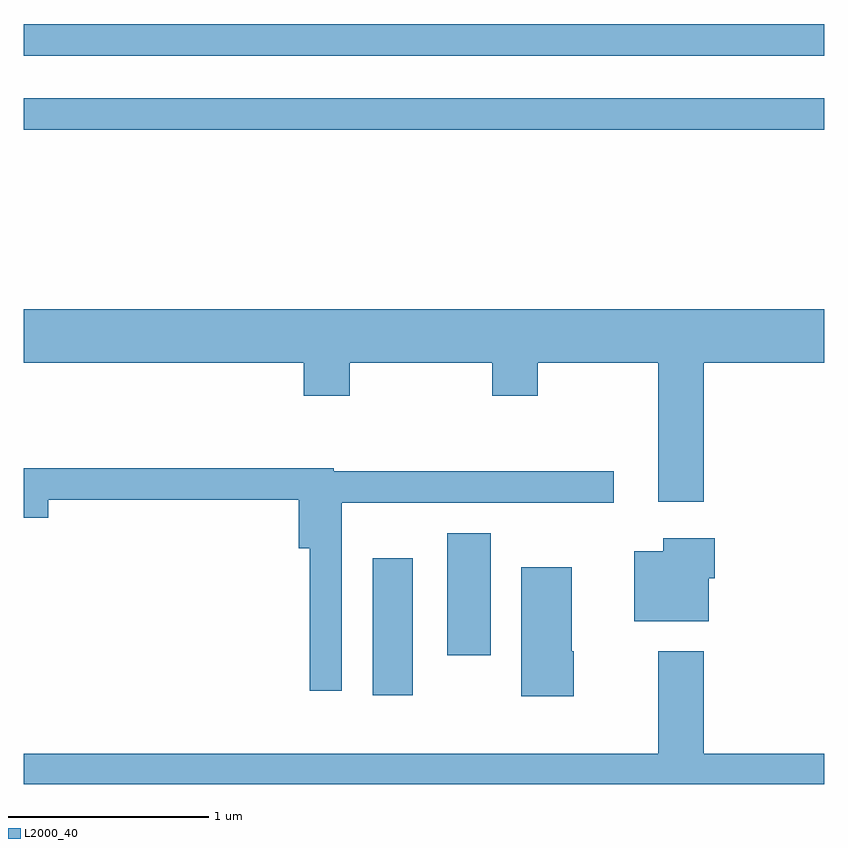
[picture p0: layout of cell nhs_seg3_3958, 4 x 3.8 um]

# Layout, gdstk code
import gdstk
lib = gdstk.Library(unit=1e-6, precision=1e-09)
def R(c, l, rs):  # rectangles x0, y0, x1, y1
    for r in rs: c.add(gdstk.rectangle(r[:2], r[2:], *l))
def P(c, l, *ps):  # polygons
    for p in ps: c.add(gdstk.Polygon(p, *l))
L2000_40 = (2000, 40)

nhs_seg3_3958 = lib.new_cell('nhs_seg3_3958')
R(nhs_seg3_3958, L2000_40, [(303.356,1144.336,303.554,1145.019), (303.726,1144.536,303.944,1145.144), (301.611,1147.161,305.611,1147.319), (301.611,1147.531,305.611,1147.689)])
P(nhs_seg3_3958, L2000_40, [(305.009,1145.996),(305.611,1145.996),(305.611,1146.264),(301.611,1146.264),(301.611,1145.996),(303.011,1145.996),(303.011,1145.831),(303.239,1145.831),(303.239,1145.996),(303.951,1145.996),(303.951,1145.831),(304.179,1145.831),(304.179,1145.996),(304.781,1145.996),(304.781,1145.301),(305.009,1145.301)],
  [(303.199,1145.296),(304.558,1145.296),(304.558,1145.454),(303.16,1145.454),(303.16,1145.469),(301.611,1145.469),(301.611,1145.221),(301.734,1145.221),(301.734,1145.311),(302.986,1145.311),(302.986,1145.071),(303.041,1145.071),(303.041,1144.358),(303.199,1144.358)],
  [(305.034,1144.921),(305.064,1144.921),(305.064,1145.119),(304.806,1145.119),(304.806,1145.054),(304.661,1145.054),(304.661,1144.706),(305.034,1144.706)],
  [(304.359,1144.555),(304.349,1144.555),(304.349,1144.974),(304.096,1144.974),(304.096,1144.331),(304.359,1144.331)],
  [(305.611,1144.044),(305.009,1144.044),(305.009,1144.554),(304.781,1144.554),(304.781,1144.044),(301.611,1144.044),(301.611,1143.892),(305.611,1143.892)])

lib.write_gds('nhs_seg3_3958.gds')
